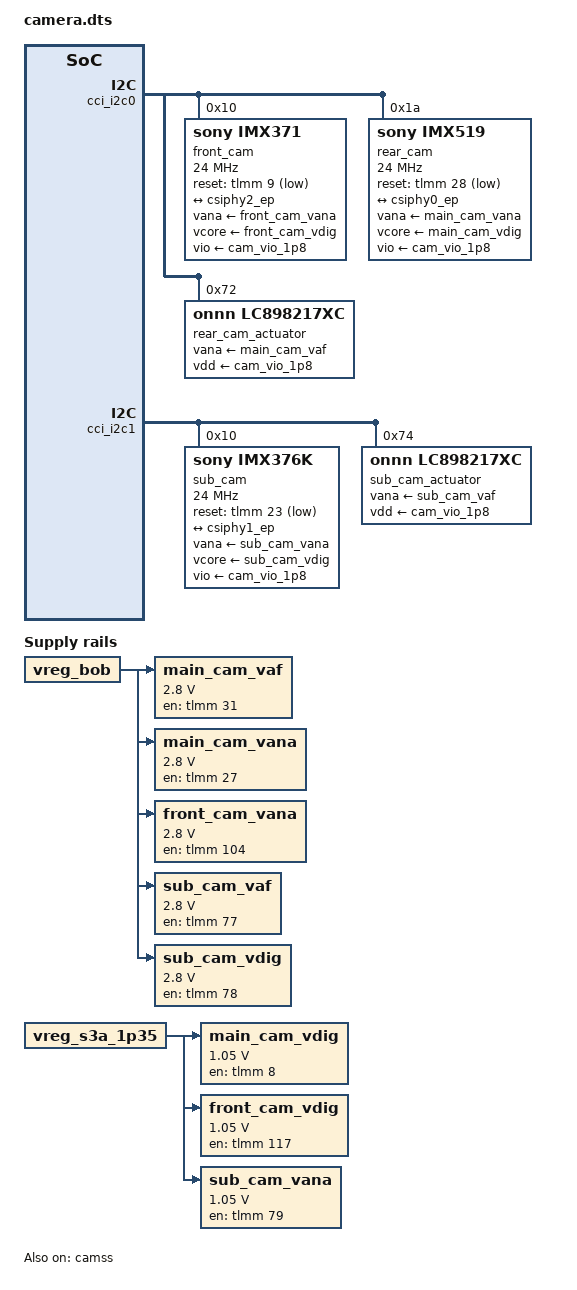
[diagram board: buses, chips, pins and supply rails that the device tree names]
// SPDX-License-Identifier: GPL-2.0
/* OnePlus 6 camera wiring from sdm845-mainline/linux, revision
 * 85f1df2a4ec71d7a91dd95a7a49f889d1595ffa8 (sdm845-oneplus-common.dtsi).
 * Keep this overlay separate from the stock tree and the WLAN pinctrl fix.
 */
/dts-v1/;
/plugin/;

#include <dt-bindings/clock/qcom,camcc-sdm845.h>
#include <dt-bindings/gpio/gpio.h>
#include <dt-bindings/media/video-interfaces.h>

&{/} {
	main_cam_vaf: main-cam-vaf-regulator {
		compatible = "regulator-fixed";
		regulator-name = "main_cam_vaf";

		regulator-min-microvolt = <2800000>;
		regulator-max-microvolt = <2800000>;
		regulator-enable-ramp-delay = <100>;

		gpio = <&tlmm 31 GPIO_ACTIVE_HIGH>;
		enable-active-high;

		vin-supply = <&vreg_bob>;
	};

	main_cam_vdig: main-cam-vdig-regulator {
		compatible = "regulator-fixed";
		regulator-name = "main_cam_vdig";

		regulator-min-microvolt = <1050000>;
		regulator-max-microvolt = <1050000>;

		gpio = <&tlmm 8 GPIO_ACTIVE_HIGH>;
		enable-active-high;

		vin-supply = <&vreg_s3a_1p35>;
		vbias-supply = <&vreg_bob>;
	};

	main_cam_vana: main-cam-vana-regulator {
		compatible = "regulator-fixed";
		regulator-name = "main_cam_vana";

		regulator-min-microvolt = <2800000>;
		regulator-max-microvolt = <2800000>;

		gpio = <&tlmm 27 GPIO_ACTIVE_HIGH>;
		enable-active-high;

		vin-supply = <&vreg_bob>;
	};

	front_cam_vdig: front-cam-vdig-regulator {
		compatible = "regulator-fixed";
		regulator-name = "front_cam_vdig";

		regulator-min-microvolt = <1050000>;
		regulator-max-microvolt = <1050000>;

		gpio = <&tlmm 117 GPIO_ACTIVE_HIGH>;
		enable-active-high;
		regulator-boot-on;

		vin-supply = <&vreg_s3a_1p35>;
		vbias-supply = <&vreg_bob>;
	};

	front_cam_vana: front-cam-vana-regulator {
		compatible = "regulator-fixed";
		regulator-name = "front_cam_vana";

		regulator-min-microvolt = <2800000>;
		regulator-max-microvolt = <2800000>;

		gpio = <&tlmm 104 GPIO_ACTIVE_HIGH>;
		enable-active-high;
		regulator-boot-on;

		vin-supply = <&vreg_bob>;
	};

	sub_cam_vana: sub-cam-vana-regulator {
		compatible = "regulator-fixed";
		regulator-name = "sub_cam_vana";

		regulator-min-microvolt = <1050000>;
		regulator-max-microvolt = <1050000>;

		gpio = <&tlmm 79 GPIO_ACTIVE_HIGH>;
		enable-active-high;

		vin-supply = <&vreg_s3a_1p35>;
		vbias-supply = <&vreg_bob>;
	};

	sub_cam_vaf: sub-cam-vaf-supply {
		compatible = "regulator-fixed";
		regulator-name = "sub_cam_vaf";

		regulator-min-microvolt = <2800000>;
		regulator-max-microvolt = <2800000>;
		regulator-enable-ramp-delay = <100>;

		gpio = <&tlmm 77 GPIO_ACTIVE_HIGH>;
		enable-active-high;

		vin-supply = <&vreg_bob>;
	};

	sub_cam_vdig: sub-cam-vdig-regulator {
		compatible = "regulator-fixed";
		regulator-name = "sub_cam_vdig";

		regulator-min-microvolt = <2800000>;
		regulator-max-microvolt = <2800000>;

		gpio = <&tlmm 78 GPIO_ACTIVE_HIGH>;
		enable-active-high;

		vin-supply = <&vreg_bob>;
	};
};

&{/soc@0/rsc@179c0000/regulators-0} {
	cam_vio_1p8: lvs1 {
		regulator-min-microvolt = <1800000>;
		regulator-max-microvolt = <1800000>;
	};
};

&camss {
	vdda-phy-supply = <&vreg_l1a_0p875>;
	vdda-pll-supply = <&vreg_l26a_1p2>;


	status = "okay";

	ports {
		#address-cells = <1>;
		#size-cells = <0>;
		port@0 {
			reg = <0>;
			csiphy0_ep: endpoint {
				bus-type = <MEDIA_BUS_TYPE_CSI2_CPHY>;
				data-lanes = <0 1 2>;
				remote-endpoint = <&imx519_ep>;
			};
		};

		port@1 {
			reg = <1>;
			csiphy1_ep: endpoint {
				bus-type = <MEDIA_BUS_TYPE_CSI2_DPHY>;
				data-lanes = <0 1 2 3>;
				remote-endpoint = <&imx376k_ep>;
			};
		};

		port@2 {
			reg = <2>;
			csiphy2_ep: endpoint {
				bus-type = <MEDIA_BUS_TYPE_CSI2_DPHY>;
				data-lanes = <0 1 2 3>;
				remote-endpoint = <&imx371_ep>;
			};
		};
	};
};

&cci_i2c0 {
	#address-cells = <1>;
	#size-cells = <0>;
	front_cam: camera@10 {
		compatible = "sony,imx371";
		reg = <0x10>;

		reset-gpios = <&tlmm 9 GPIO_ACTIVE_LOW>;
		pinctrl-names = "default", "sleep";
		pinctrl-0 = <&front_cam_default &cam_mclk1_default>;
		pinctrl-1 = <&front_cam_sleep &cam_mclk1_sleep>;

		clocks = <&clock_camcc CAM_CC_MCLK1_CLK>;
		clock-names = "xclk";
		clock-frequency = <24000000>;

		vana-supply = <&front_cam_vana>;
		vcore-supply = <&front_cam_vdig>;
		vio-supply = <&cam_vio_1p8>;

		orientation = <0>; /* Front camera */
		rotation = <90>;

		status = "okay";

		port {
			imx371_ep: endpoint {
				remote-endpoint = <&csiphy2_ep>;
				data-lanes = <1 2 3 4>;
				link-frequencies = /bits/ 64 <654000000>;
			};
		};
	};

	rear_cam: camera@1a {
		compatible = "sony,imx519";
		reg = <0x1a>;

		reset-gpios = <&tlmm 28 GPIO_ACTIVE_LOW>;
		pinctrl-names = "default", "sleep";
		pinctrl-0 = <&main_cam_default &cam_mclk0_default>;
		pinctrl-1 = <&main_cam_sleep &cam_mclk0_sleep>;

		clocks = <&clock_camcc CAM_CC_MCLK0_CLK>;
		clock-names = "xclk";
		clock-frequency = <24000000>;
		assigned-clocks = <&clock_camcc CAM_CC_MCLK0_CLK>;
		assigned-clock-rates = <24000000>;

		vana-supply = <&main_cam_vana>;
		vcore-supply = <&main_cam_vdig>;
		vio-supply = <&cam_vio_1p8>;

		orientation = <1>; /* Rear camera */
		rotation = <270>;

		lens-focus = <&rear_cam_actuator>;

		status = "okay";

		port {
			imx519_ep: endpoint {
				bus-type = <MEDIA_BUS_TYPE_CSI2_CPHY>;
				remote-endpoint = <&csiphy0_ep>;
				data-lanes = <1 2 3>;
				link-frequencies = /bits/ 64 <500399375>;
			};
		};
	};

	rear_cam_actuator: actuator@72 {
		compatible = "onnn,lc898217xc";
		reg = <0x72>;
		vana-supply = <&main_cam_vaf>;
		vdd-supply = <&cam_vio_1p8>;
	};
};

&cci_i2c1 {
	#address-cells = <1>;
	#size-cells = <0>;
	/* sa,sa3103 @ 0d */

	sub_cam: camera@10 {
		compatible = "sony,imx376k";
		reg = <0x10>;

		reset-gpios = <&tlmm 23 GPIO_ACTIVE_LOW>;
		pinctrl-names = "default", "sleep";
		pinctrl-0 = <&sub_cam_default &cam_mclk2_default>;
		pinctrl-1 = <&sub_cam_sleep &cam_mclk2_sleep>;

		clocks = <&clock_camcc CAM_CC_MCLK2_CLK>;
		clock-names = "xclk";
		clock-frequency = <24000000>;

		vana-supply = <&sub_cam_vana>;
		vcore-supply = <&sub_cam_vdig>;
		vio-supply = <&cam_vio_1p8>;

		orientation = <1>; /* Rear camera */
		rotation = <270>;

		lens-focus = <&sub_cam_actuator>;

		status = "okay";

		port {
			imx376k_ep: endpoint {
				remote-endpoint = <&csiphy1_ep>;
				data-lanes = <1 2 3 4>;
				link-frequencies = /bits/ 64 <500000000>;
			};
		};
	};

	sub_cam_actuator: actuator@74 {
		compatible = "onnn,lc898217xc";
		reg = <0x74>;
		vana-supply = <&sub_cam_vaf>;
		vdd-supply = <&cam_vio_1p8>;
	};
};

&tlmm {
	main_cam_default: main-cam-default-state {
		rst {
			pins = "gpio28";
			function = "gpio";
			bias-disable;
			drive-strength = <2>;
		};

		ois {
			pins = "gpio40";
			function = "gpio";
			bias-disable;
			drive-strength = <2>;
		};

		ana {
			pins = "gpio27";
			function = "gpio";
			bias-disable;
			drive-strength = <2>;
		};

		dig {
			pins = "gpio8";
			function = "gpio";
			bias-disable;
			drive-strength = <2>;
		};
	};

	main_cam_sleep: main-cam-sleep-state {
		rst {
			pins = "gpio28";
			function = "gpio";
			bias-disable;
			drive-strength = <2>;
		};

		ois {
			pins = "gpio40";
			function = "gpio";
			bias-pull-down;
			drive-strength = <2>;
		};

		ana {
			pins = "gpio27";
			function = "gpio";
			bias-pull-down;
			drive-strength = <2>;
		};

		dig {
			pins = "gpio8";
			function = "gpio";
			bias-pull-down;
			drive-strength = <2>;
		};
	};

	sub_cam_default: sub-cam-default-state {
		rst {
			pins = "gpio23";
			function = "gpio";
			bias-disable;
			drive-strength = <2>;
		};

		vaf {
			pins = "gpio77";
			function = "gpio";
			bias-disable;
			drive-strength = <2>;
		};

		ana {
			pins = "gpio78";
			function = "gpio";
			bias-disable;
			drive-strength = <2>;
		};

		dig {
			pins = "gpio79";
			function = "gpio";
			bias-disable;
			drive-strength = <2>;
		};
	};

	sub_cam_sleep: sub-cam-sleep-state {
		rst {
			pins = "gpio23";
			function = "gpio";
			bias-disable;
			drive-strength = <2>;
		};

		vaf {
			pins = "gpio77";
			function = "gpio";
			bias-pull-down;
			drive-strength = <2>;
		};

		ana {
			pins = "gpio78";
			function = "gpio";
			bias-pull-down;
			drive-strength = <2>;
		};

		dig {
			pins = "gpio79";
			function = "gpio";
			bias-pull-down;
			drive-strength = <2>;
		};
	};

	front_cam_default: front-cam-default-state {
		rst {
			pins = "gpio9";
			function = "gpio";
			bias-disable;
			drive-strength = <2>;
		};

		ana {
			pins = "gpio104";
			function = "gpio";
			bias-disable;
			drive-strength = <2>;
		};

		dig {
			pins = "gpio117";
			function = "gpio";
			bias-disable;
			drive-strength = <2>;
		};
	};

	front_cam_sleep: front-cam-sleep-state {
		rst {
			pins = "gpio9";
			function = "gpio";
			bias-disable;
			drive-strength = <2>;
		};

		ana {
			pins = "gpio104";
			function = "gpio";
			bias-pull-down;
			drive-strength = <2>;
		};

		dig {
			pins = "gpio117";
			function = "gpio";
			bias-pull-down;
			drive-strength = <2>;
		};
	};
};
